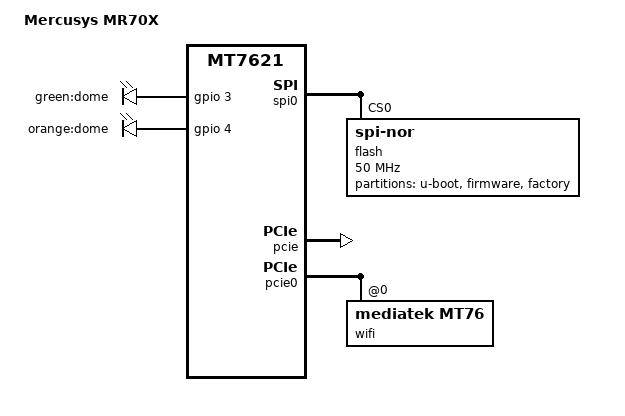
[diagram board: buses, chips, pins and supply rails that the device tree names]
// SPDX-License-Identifier: GPL-2.0-or-later OR MIT

#include "mt7621.dtsi"

#include <dt-bindings/gpio/gpio.h>
#include <dt-bindings/input/input.h>
#include <dt-bindings/leds/common.h>

/ {
	compatible = "mercusys,mr70x", "mediatek,mt7621-soc";
	model = "Mercusys MR70X";

	aliases {
		led-boot = &led_orange;
		led-failsafe = &led_orange;
		led-running = &led_green;
		led-upgrade = &led_green;
	};

	chosen {
		bootargs = "console=ttyS0,115200";
	};

	leds {
		compatible = "gpio-leds";

		led_green: dome_green {
			label = "green:dome";
			gpios = <&gpio 3 GPIO_ACTIVE_HIGH>;
		};

		led_orange: dome_orange {
			label = "orange:dome";
			gpios = <&gpio 4 GPIO_ACTIVE_HIGH>;
		};
	};

	// keys {
	// 	compatible = "gpio-keys";

	// 	reset {
	// 		label = "reset";
	// 		gpios = <&gpio 4 GPIO_ACTIVE_LOW>;
	// 		linux,code = <KEY_RESTART>;
	// 	};
	// };
};

&spi0 {
	status = "okay";

	flash@0 {
		compatible = "jedec,spi-nor";
		reg = <0>;
		spi-max-frequency = <50000000>;

		partitions {
			compatible = "fixed-partitions";
			#address-cells = <1>;
			#size-cells = <1>;

			partition@0 {
				label = "u-boot";
				reg = <0x0 0x40000>;
				read-only;
			};

			partition@40000 {
				compatible = "denx,uimage";
				label = "firmware";
				reg = <0x40000 0xf60000>;
			};

			factory: partition@fa0000 {
				label = "factory";
				reg = <0xfa0000 0x60000>;
				read-only;

				compatible = "nvmem-cells";
				#address-cells = <1>;
				#size-cells = <1>;

				macaddr_factory_8: macaddr@8 {
					reg = <0x8 0x6>;
				};
			};
		};
	};
};

&ethernet {
	pinctrl-names = "default";
	pinctrl-0 = <&rgmii1_pins &mdio_pins>;
};

&gmac0 {
	nvmem-cells = <&macaddr_factory_8>;
	nvmem-cell-names = "mac-address";
	mac-address-increment = <(1)>;
};

&switch0 {
	ports {
		port@0 {
			status = "okay";
			label = "wan";
			nvmem-cells = <&macaddr_factory_8>;
			nvmem-cell-names = "mac-address";
		};

		port@1 {
			status = "okay";
			label = "lan1";
		};

		port@2 {
			status = "okay";
			label = "lan2";
		};

		port@3 {
			status = "okay";
			label = "lan3";
		};
	};
};

&pcie {
	status = "okay";
};

&pcie0 {
	wifi@0,0 {
		compatible = "mediatek,mt76";
		reg = <0x0000 0 0 0 0>;
		mediatek,mtd-eeprom = <&factory 0x50000>;
	};
};
